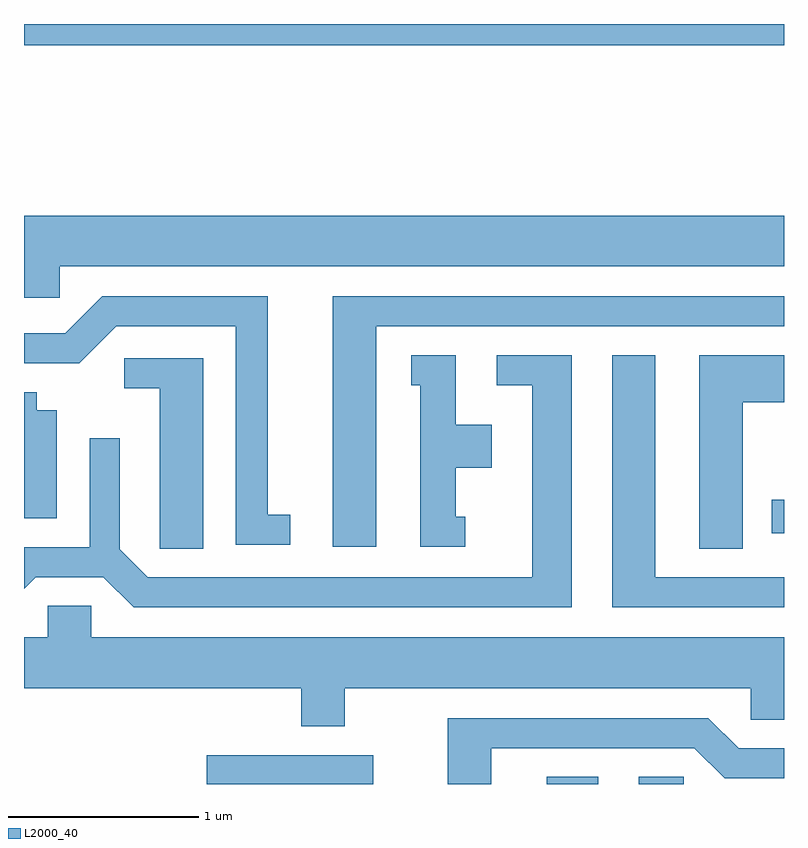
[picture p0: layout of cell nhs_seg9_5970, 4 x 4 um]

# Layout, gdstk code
import gdstk
lib = gdstk.Library(unit=1e-6, precision=1e-09)
def R(c, l, rs):  # rectangles x0, y0, x1, y1
    for r in rs: c.add(gdstk.rectangle(r[:2], r[2:], *l))
def P(c, l, *ps):  # polygons
    for p in ps: c.add(gdstk.Polygon(p, *l))
L2000_40 = (2000, 40)

nhs_seg9_5970 = lib.new_cell('nhs_seg9_5970')
R(nhs_seg9_5970, L2000_40, [(362.573,1982.432,363.449,1982.584), (364.361,1982.432,364.633,1982.469), (364.846,1982.432,365.083,1982.469), (365.546,1983.751,365.611,1983.929), (361.611,1986.321,365.611,1986.432)])
P(nhs_seg9_5970, L2000_40, [(361.799,1985.156),(365.611,1985.156),(365.611,1985.424),(361.611,1985.424),(361.611,1984.991),(361.799,1984.991)],
  [(363.013,1983.849),(362.894,1983.849),(362.894,1984.999),(362.024,1984.999),(361.829,1984.804),(361.611,1984.804),(361.611,1984.646),(361.902,1984.646),(362.097,1984.841),(362.726,1984.841),(362.726,1983.691),(363.013,1983.691)],
  [(363.464,1984.841),(365.611,1984.841),(365.611,1984.999),(363.236,1984.999),(363.236,1983.681),(363.464,1983.681)],
  [(365.611,1983.519),(364.934,1983.519),(364.934,1984.689),(364.706,1984.689),(364.706,1983.361),(365.611,1983.361)],
  [(365.394,1984.441),(365.611,1984.441),(365.611,1984.689),(365.166,1984.689),(365.166,1983.671),(365.394,1983.671)],
  [(363.933,1983.839),(363.884,1983.839),(363.884,1984.096),(364.074,1984.096),(364.074,1984.324),(363.884,1984.324),(363.884,1984.689),(363.648,1984.689),(363.648,1984.531),(363.696,1984.531),(363.696,1983.681),(363.933,1983.681)],
  [(364.494,1984.689),(364.098,1984.689),(364.098,1984.531),(364.286,1984.531),(364.286,1983.519),(362.262,1983.519),(362.114,1983.667),(362.114,1984.253),(361.956,1984.253),(361.956,1983.679),(361.611,1983.679),(361.611,1983.46),(361.672,1983.521),(362.029,1983.521),(362.189,1983.361),(364.494,1983.361)],
  [(362.554,1984.674),(362.138,1984.674),(362.138,1984.516),(362.326,1984.516),(362.326,1983.671),(362.554,1983.671)],
  [(361.784,1984.399),(361.679,1984.399),(361.679,1984.494),(361.611,1984.494),(361.611,1983.831),(361.784,1983.831)],
  [(363.299,1982.936),(365.436,1982.936),(365.436,1982.771),(365.611,1982.771),(365.611,1983.204),(361.964,1983.204),(361.964,1983.369),(361.736,1983.369),(361.736,1983.204),(361.611,1983.204),(361.611,1982.936),(363.071,1982.936),(363.071,1982.736),(363.299,1982.736)],
  [(364.069,1982.621),(365.139,1982.621),(365.299,1982.461),(365.611,1982.461),(365.611,1982.619),(365.372,1982.619),(365.212,1982.779),(363.841,1982.779),(363.841,1982.432),(364.069,1982.432)])

lib.write_gds('nhs_seg9_5970.gds')
